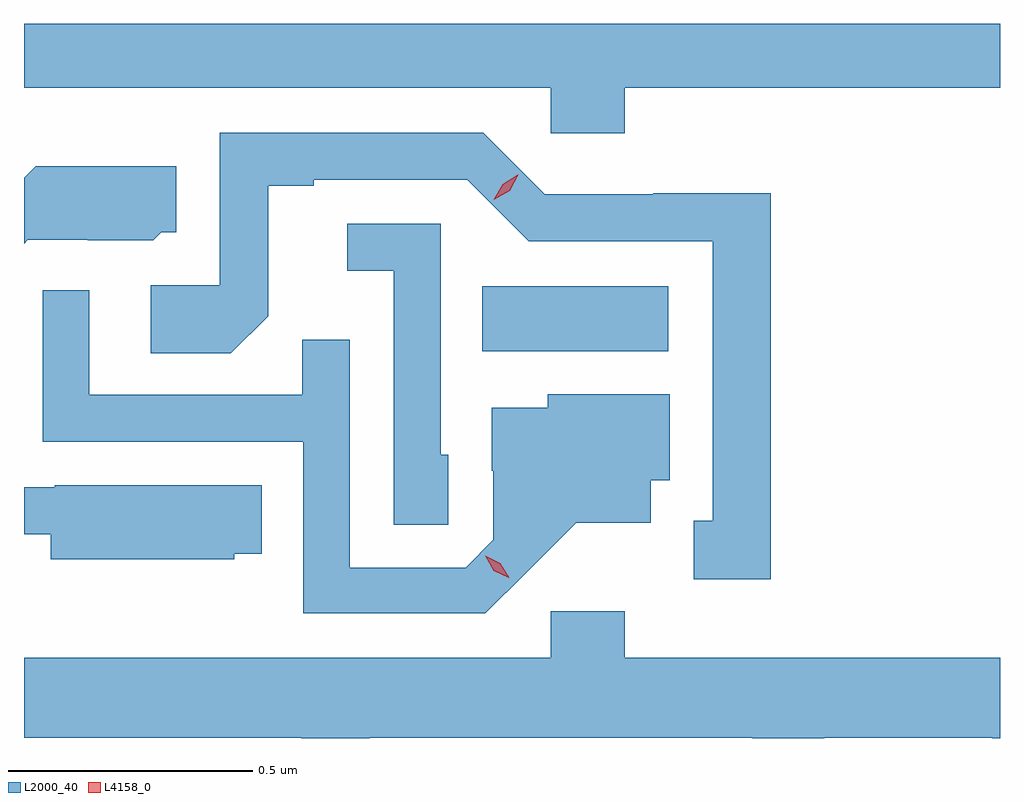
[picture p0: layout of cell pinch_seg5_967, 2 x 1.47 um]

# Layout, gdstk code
import gdstk
lib = gdstk.Library(unit=1e-6, precision=1e-09)
def R(c, l, rs):  # rectangles x0, y0, x1, y1
    for r in rs: c.add(gdstk.rectangle(r[:2], r[2:], *l))
def P(c, l, *ps):  # polygons
    for p in ps: c.add(gdstk.Polygon(p, *l))
L2000_40 = (2000, 40)
L4158_0 = (4158, 0)

pinch_seg5_967 = lib.new_cell('pinch_seg5_967')
R(pinch_seg5_967, L2000_40, [(732.55,914.828,732.931,914.962)])
P(pinch_seg5_967, L2000_40, [(732.842,915.368),(733.611,915.368),(733.611,915.5),(731.611,915.5),(731.611,915.368),(732.69,915.368),(732.69,915.275),(732.842,915.275)],
  [(733.141,915.152),(732.9,915.152),(732.9,915.15),(732.678,915.15),(732.552,915.276),(732.012,915.276),(732.012,914.964),(731.871,914.964),(731.871,914.824),(732.035,914.824),(732.111,914.9),(732.111,915.168),(732.205,915.168),(732.205,915.18),(732.519,915.18),(732.645,915.054),(733.022,915.054),(733.022,914.481),(732.983,914.481),(732.983,914.361),(733.141,914.361)],
  [(731.619,915.057),(731.742,915.057),(731.742,915.056),(731.876,915.056),(731.892,915.072),(731.923,915.072),(731.923,915.208),(731.635,915.208),(731.611,915.184),(731.611,915.049)],
  [(732.48,914.616),(732.465,914.616),(732.465,915.09),(732.273,915.09),(732.273,914.993),(732.369,914.993),(732.369,914.473),(732.48,914.473)],
  [(732.64,914.375),(732.743,914.477),(732.895,914.477),(732.895,914.564),(732.934,914.564),(732.934,914.74),(732.684,914.74),(732.684,914.713),(732.569,914.713),(732.569,914.584),(732.573,914.584),(732.573,914.442),(732.516,914.385),(732.279,914.385),(732.279,914.852),(732.181,914.852),(732.181,914.739),(731.745,914.739),(731.745,914.953),(731.649,914.953),(731.649,914.643),(732.183,914.643),(732.183,914.292),(732.556,914.292)],
  [(732.042,914.414),(732.098,914.414),(732.098,914.554),(731.674,914.554),(731.674,914.55),(731.611,914.55),(731.611,914.453),(731.666,914.453),(731.666,914.402),(732.042,914.402)],
  [(732.319,914.036),(733.103,914.036),(733.103,914.035),(733.251,914.035),(733.251,914.036),(733.595,914.036),(733.595,914.035),(733.611,914.035),(733.611,914.2),(732.842,914.2),(732.842,914.296),(732.69,914.296),(732.69,914.2),(731.611,914.2),(731.611,914.036),(732.179,914.036),(732.179,914.035),(732.319,914.035)])
P(pinch_seg5_967, L4158_0, [(732.574,915.139),(732.574,915.139),(732.592,915.171),(732.623,915.19),(732.624,915.19),(732.624,915.19),(732.606,915.157),(732.574,915.139)],
  [(732.604,914.364),(732.574,914.379),(732.556,914.409),(732.556,914.409),(732.556,914.409),(732.587,914.394),(732.605,914.364),(732.605,914.364)])

lib.write_gds('pinch_seg5_967.gds')
